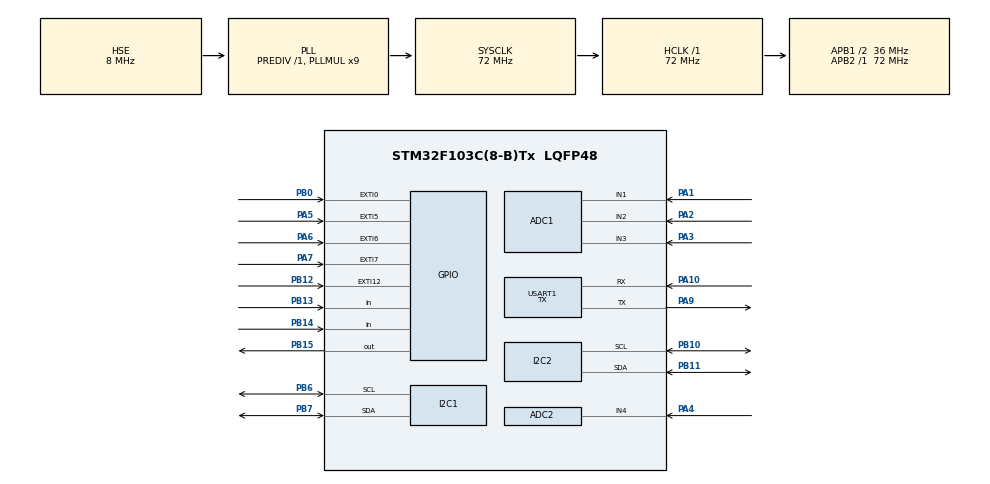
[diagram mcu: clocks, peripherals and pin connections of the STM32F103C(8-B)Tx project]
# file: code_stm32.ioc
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ADC1.Channel-27\#ChannelRegularConversion=ADC_CHANNEL_1
ADC1.Channel-28\#ChannelRegularConversion=ADC_CHANNEL_2
ADC1.Channel-31\#ChannelRegularConversion=ADC_CHANNEL_3
ADC1.ContinuousConvMode=ENABLE
ADC1.NbrOfConversion=3
ADC1.NbrOfConversionFlag=1
ADC1.Rank-27\#ChannelRegularConversion=1
ADC1.Rank-28\#ChannelRegularConversion=2
ADC1.Rank-31\#ChannelRegularConversion=3
ADC1.SamplingTime-27\#ChannelRegularConversion=ADC_SAMPLETIME_239CYCLES_5
ADC1.SamplingTime-28\#ChannelRegularConversion=ADC_SAMPLETIME_239CYCLES_5
ADC1.SamplingTime-31\#ChannelRegularConversion=ADC_SAMPLETIME_239CYCLES_5
ADC1.master=1
ADC2.Channel-10\#ChannelRegularConversion=ADC_CHANNEL_4
ADC2.NbrOfConversionFlag=1
ADC2.Rank-10\#ChannelRegularConversion=1
ADC2.SamplingTime-10\#ChannelRegularConversion=ADC_SAMPLETIME_239CYCLES_5
Mcu.Family=STM32F1
Mcu.Name=STM32F103C(8-B)Tx
Mcu.Package=LQFP48
NVIC.EXTI0_IRQn=true\:0\:0\:false\:false\:true\:true\:true\:true
NVIC.EXTI15_10_IRQn=true\:0\:0\:false\:false\:true\:true\:true\:true
NVIC.EXTI9_5_IRQn=true\:0\:0\:false\:false\:true\:true\:true\:true
NVIC.PriorityGroup=NVIC_PRIORITYGROUP_4
PA1.Signal=ADCx_IN1
PA10.Mode=Asynchronous
PA10.Signal=USART1_RX
PA13.Mode=Serial_Wire
PA13.Signal=SYS_JTMS-SWDIO
PA14.Mode=Serial_Wire
PA14.Signal=SYS_JTCK-SWCLK
PA2.Signal=ADCx_IN2
PA3.Signal=ADCx_IN3
PA4.Signal=ADCx_IN4
PA5.GPIO_ModeDefaultEXTI=GPIO_MODE_IT_FALLING
PA5.GPIO_PuPd=GPIO_PULLUP
PA5.Signal=GPXTI5
PA6.GPIO_ModeDefaultEXTI=GPIO_MODE_IT_FALLING
PA6.GPIO_PuPd=GPIO_PULLUP
PA6.Signal=GPXTI6
PA7.GPIO_ModeDefaultEXTI=GPIO_MODE_IT_FALLING
PA7.GPIO_PuPd=GPIO_PULLUP
PA7.Signal=GPXTI7
PA9.Mode=Asynchronous
PA9.Signal=USART1_TX
PB0.GPIO_ModeDefaultEXTI=GPIO_MODE_IT_FALLING
PB0.GPIO_PuPd=GPIO_PULLUP
PB0.Signal=GPXTI0
PB10.Mode=I2C
PB10.Signal=I2C2_SCL
PB11.Mode=I2C
PB11.Signal=I2C2_SDA
PB12.GPIO_ModeDefaultEXTI=GPIO_MODE_IT_FALLING
PB12.GPIO_PuPd=GPIO_PULLUP
PB12.Signal=GPXTI12
PB13.Signal=GPIO_Input
PB14.Signal=GPIO_Input
PB15.Signal=GPIO_Output
PB6.Mode=I2C
PB6.Signal=I2C1_SCL
PB7.Mode=I2C
PB7.Signal=I2C1_SDA
PD0-OSC_IN.Mode=HSE-External-Oscillator
PD0-OSC_IN.Signal=RCC_OSC_IN
PD1-OSC_OUT.Mode=HSE-External-Oscillator
PD1-OSC_OUT.Signal=RCC_OSC_OUT
ProjectManager.HeapSize=0x200
ProjectManager.StackSize=0x400
ProjectManager.TargetToolchain=MDK-ARM V5.32
RCC.ADCPresc=RCC_ADCPCLK2_DIV6
RCC.AHBFreq_Value=72000000
RCC.APB1CLKDivider=RCC_HCLK_DIV2
RCC.APB1Freq_Value=36000000
RCC.APB1TimFreq_Value=72000000
RCC.APB2Freq_Value=72000000
RCC.APB2TimFreq_Value=72000000
RCC.HCLKFreq_Value=72000000
RCC.PLLMUL=RCC_PLL_MUL9
RCC.PLLSourceVirtual=RCC_PLLSOURCE_HSE
RCC.SYSCLKFreq_VALUE=72000000
RCC.SYSCLKSource=RCC_SYSCLKSOURCE_PLLCLK
RCC.USBFreq_Value=72000000
SH.ADCx_IN1.0=ADC1_IN1,IN1
SH.ADCx_IN2.0=ADC1_IN2,IN2
SH.ADCx_IN3.0=ADC1_IN3,IN3
SH.ADCx_IN4.0=ADC2_IN4,IN4
TIM3.Prescaler=71
USART1.Mode=MODE_TX
USART1.VirtualMode=VM_ASYNC
VP_TIM3_VS_ClockSourceINT.Mode=Internal
board=custom

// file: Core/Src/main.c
/* USER CODE BEGIN Header */
/**
  ******************************************************************************
  * @file           : main.c
  * @brief          : Main program body
  ******************************************************************************
  * @attention
  *
  * Copyright (c) 2025 STMicroelectronics.
  * All rights reserved.
  *
  * This software is licensed under terms that can be found in the LICENSE file
  * in the root directory of this software component.
  * If no LICENSE file comes with this software, it is provided AS-IS.
  *
  ******************************************************************************
  */
/* USER CODE END Header */
#include "main.h"

/* USER CODE BEGIN Includes */
#include "stdio.h"
#include "DHT.c"
#include "DS18B20.h"
#include "i2c-lcd.h"
#include "delay_timer.h"
#include "string.h"
/* USER CODE END Includes */

ADC_HandleTypeDef hadc1;
ADC_HandleTypeDef hadc2;

I2C_HandleTypeDef hi2c1;
I2C_HandleTypeDef hi2c2;

TIM_HandleTypeDef htim3;

UART_HandleTypeDef huart1;

/* USER CODE BEGIN PV */
float tempDS18B20, tempDHT, humidity;
char buffer[100];
char msg[20];
DS18B20_Name DS1;
float TempWater;
uint16_t adc_value1 = 0;
float Vin1 = 0;
uint16_t adc_value2 = 0;
float Vin2 = 0;
uint16_t adc_value3 = 0;
float Vin3 = 0;
uint16_t adc_value4 = 0;
float Vin4 = 0;
float tdsValue;
float ntuValue;
float phValue;
float level;
int countdown;
volatile uint8_t current_page = 0;
volatile uint8_t update_lcd = 1;
float phSum = 0;
/* USER CODE END PV */

void SystemClock_Config(void);
static void MX_GPIO_Init(void);
static void MX_ADC1_Init(void);
static void MX_USART1_UART_Init(void);
static void MX_I2C1_Init(void);
static void MX_I2C2_Init(void);
static void MX_TIM3_Init(void);
static void MX_ADC2_Init(void);
/* USER CODE BEGIN PFP */
void send_data_UART(char *msg) {
    HAL_UART_Transmit(&huart1, (uint8_t *)msg, strlen(msg), HAL_MAX_DELAY);
}
void lcd_send_float(const char* label, float value) {
    static char buf[32];
    snprintf(buf, sizeof(buf), "%s: %.2f", label, value);
    lcd_send_string(buf);
}
float calib_ph(float voltage) {
    if (voltage >= 2.20 && voltage <= 2.52) {
        // Рo?n t? pH 4.01 d?n 6.86
        float v1 = 2.52, pH1 = 4.01;
        float v2 = 2.20, pH2 = 6.86;
        return pH1 + (voltage - v1) * (pH2 - pH1) / (v2 - v1);
    } else if (voltage >= 1.93 && voltage < 2.20) {
        // Рo?n t? pH 6.86 d?n 9.18
        float v1 = 2.20, pH1 = 6.86;
        float v2 = 1.93, pH2 = 9.18;
        return pH1 + (voltage - v1) * (pH2 - pH1) / (v2 - v1);
    } else if (voltage > 2.52) {
        return 4.01;
    } else {
        return 9.18;
    }
}

void show_page(uint8_t page) {
    char line1[17], line2[17];
    lcd_clear();

    if (page == 0) {
        snprintf(line1, sizeof(line1), "TempAir:  %.1f", tempDHT);
        snprintf(line2, sizeof(line2), "Humidity: %.1f", humidity);
    } else if (page == 1) {
        snprintf(line1, sizeof(line1), "TempWater:%.1f", TempWater);
        snprintf(line2, sizeof(line2), "TDS:      %.1f", tdsValue);
    } else if (page == 2) {
        snprintf(line1, sizeof(line1), "Level:    %.1f", level);
        snprintf(line2, sizeof(line2), "pH:       %.1f", phValue);
    } else if (page == 3) {
        snprintf(line1, sizeof(line1), "NTU:      %.1f", ntuValue);
        snprintf(line2, sizeof(line2), "Time left:%2ds", countdown);
    }

    lcd_put_cur(0, 0);
    lcd_send_string(line1);
    lcd_put_cur(1, 0);
    lcd_send_string(line2);
}
void HAL_GPIO_EXTI_Callback(uint16_t GPIO_Pin) {
	  static uint8_t relay1_state = 0;
    static uint8_t relay2_state = 0;
	  static uint8_t relay3_state = 0;
    static uint8_t relay4_state = 0;
    if (GPIO_Pin == GPIO_PIN_12) {
        static uint32_t last_tick = 0;
        if (HAL_GetTick() - last_tick > 400) {
            last_tick = HAL_GetTick();
            current_page = (current_page + 1) % 4;
            show_page(current_page);
        }
    }
		if (GPIO_Pin == GPIO_PIN_5) {
        static uint32_t last_tick = 0;
        if (HAL_GetTick() - last_tick > 200) {
            relay1_state = !relay1_state;
            snprintf(msg, sizeof(msg), "relay1: %d\n", relay1_state);
            send_data_UART(msg);
        }
    }
		if (GPIO_Pin == GPIO_PIN_6) {
        static uint32_t last_tick = 0;
        if (HAL_GetTick() - last_tick > 200) {
            relay2_state = !relay2_state;
            snprintf(msg, sizeof(msg), "relay2: %d\n", relay2_state);
            send_data_UART(msg);
        }
    }
		if (GPIO_Pin == GPIO_PIN_7) {
        static uint32_t last_tick = 0;
        if (HAL_GetTick() - last_tick > 200) {
            relay3_state = !relay3_state;
            snprintf(msg, sizeof(msg), "relay3: %d\n", relay3_state);
            send_data_UART(msg);
        }
    }
		if (GPIO_Pin == GPIO_PIN_0) {
        static uint32_t last_tick = 0;
        if (HAL_GetTick() - last_tick > 200) {
            relay4_state = !relay4_state;
            snprintf(msg, sizeof(msg), "relay4: %d\n", relay4_state);
            send_data_UART(msg);
        }
    }
}

/* USER CODE END PFP */

/* USER CODE BEGIN 0 */
DHT_sensor sensor = {
    .DHT_Port = GPIOB,
    .DHT_Pin = GPIO_PIN_14,
    .pullUp = GPIO_PULLUP,
    .type = DHT11
};
/* USER CODE END 0 */

int main(void)
 {

  /* MCU Configuration--------------------------------------------------------*/

  /* Reset of all peripherals, Initializes the Flash interface and the Systick. */
  HAL_Init();

  /* Configure the system clock */
  SystemClock_Config();

  /* Initialize all configured peripherals */
  MX_GPIO_Init();
  MX_ADC1_Init();
  MX_USART1_UART_Init();
  MX_I2C1_Init();
  MX_I2C2_Init();
  MX_TIM3_Init();
  MX_ADC2_Init();
	lcd_init();
  /* USER CODE BEGIN 2 */
	DS18B20_Init(&DS1, &htim3, GPIOB,  GPIO_PIN_15);
	DHT_data dhtData;
	//Ds18B20_t ds18b20;
	//DS18B20_init(&ds18b20, &huart3, DS18B20_12BITS);
  /* USER CODE END 2 */

  /* Infinite loop */
  while (1)
  {

    HAL_ADC_Start(&hadc1);
		for (int i = 0; i < 3; i++) {
				HAL_ADC_PollForConversion(&hadc1, 100);
				uint16_t value = HAL_ADC_GetValue(&hadc1);
				switch (i) {
						case 0:
								adc_value1 = value;
								break;
						case 1:
								adc_value2 = value;
								break;
						case 2:
								adc_value3 = value;
								break;
				}
		}
		Vin1 = (float)(adc_value1/4095.00)*3.3;
				tdsValue = (133.42 * Vin1 * Vin1 * Vin1
											- 255.86 * Vin1 * Vin1
											+ 857.39 * Vin1) * 0.5;
				sprintf(buffer, "TDS: %.2f\r\n", tdsValue);
				send_data_UART(buffer);
		HAL_Delay(100);
		Vin2 = (float)(adc_value2/4095.00)*3.3;
				ntuValue = (1.85- Vin2) * (500.0 / 2.2);
				if (ntuValue < 0.1) {
						ntuValue = 0.1;
				}
				sprintf(buffer, "NTU: %.2f\r\n", ntuValue);
				send_data_UART(buffer);
				HAL_Delay(100);

		Vin3 = (float)(adc_value3/4095.00)*3.3;
				if (Vin3 <= 0.05f) {
						level = 0;
				} else if (Vin3 > 0.05f && Vin3 <= 1.25f) {
						level = 1;
				} else if (Vin3 > 1.25f && Vin3 <= 1.45f) {
						level = 2;
				} else if (Vin3 > 1.45f && Vin3 <= 2.20f) {
						level = 3;
				} else {
						level = 4;
				}
		sprintf(buffer, "Level: %.2f\r\n", level);
		send_data_UART(buffer);
		HAL_ADC_Stop(&hadc1);

		for (int i = 0; i < 10; i++) {
				HAL_ADC_Start(&hadc2);
				HAL_ADC_PollForConversion(&hadc2, 300);
				adc_value4 = HAL_ADC_GetValue(&hadc2);
				HAL_ADC_Stop(&hadc2);

				Vin4 = (float)adc_value4 / 4095.0 * 3.3;
				phValue = calib_ph(Vin4);
				phSum += phValue;

				HAL_Delay(50);
		}
		float phAverage = phSum / 10.0;
		sprintf(buffer, "pHValue: %.2f\r\n", phValue);
		send_data_UART(buffer);

		TempWater = DS18B20_ReadTemp(&DS1);
		sprintf(buffer, "TempWater: %.2f\r\n", TempWater);
		send_data_UART(buffer);
		dhtData = DHT_getData(&sensor);
		humidity = dhtData.hum;
		sprintf(buffer, "Humidity: %.2f\r\n", humidity);
		send_data_UART(buffer);
		HAL_Delay(100);
		tempDHT = dhtData.temp;
		sprintf(buffer, "DHT Temp: %.2f\r\n", tempDHT);
		send_data_UART(buffer);
		for (int i = 15; i >= 0; i--) {
			countdown = i;
			HAL_Delay(1000);
		 show_page(current_page);
		}
  }
}

void SystemClock_Config(void)
{
  RCC_OscInitTypeDef RCC_OscInitStruct = {0};
  RCC_ClkInitTypeDef RCC_ClkInitStruct = {0};
  RCC_PeriphCLKInitTypeDef PeriphClkInit = {0};

  /** Initializes the RCC Oscillators according to the specified parameters
  * in the RCC_OscInitTypeDef structure.
  */
  RCC_OscInitStruct.OscillatorType = RCC_OSCILLATORTYPE_HSE;
  RCC_OscInitStruct.HSEState = RCC_HSE_ON;
  RCC_OscInitStruct.HSEPredivValue = RCC_HSE_PREDIV_DIV1;
  RCC_OscInitStruct.HSIState = RCC_HSI_ON;
  RCC_OscInitStruct.PLL.PLLState = RCC_PLL_ON;
  RCC_OscInitStruct.PLL.PLLSource = RCC_PLLSOURCE_HSE;
  RCC_OscInitStruct.PLL.PLLMUL = RCC_PLL_MUL9;
  if (HAL_RCC_OscConfig(&RCC_OscInitStruct) != HAL_OK)
  {
    Error_Handler();
  }

  /** Initializes the CPU, AHB and APB buses clocks
  */
  RCC_ClkInitStruct.ClockType = RCC_CLOCKTYPE_HCLK|RCC_CLOCKTYPE_SYSCLK
                              |RCC_CLOCKTYPE_PCLK1|RCC_CLOCKTYPE_PCLK2;
  RCC_ClkInitStruct.SYSCLKSource = RCC_SYSCLKSOURCE_PLLCLK;
  RCC_ClkInitStruct.AHBCLKDivider = RCC_SYSCLK_DIV1;
  RCC_ClkInitStruct.APB1CLKDivider = RCC_HCLK_DIV2;
  RCC_ClkInitStruct.APB2CLKDivider = RCC_HCLK_DIV1;

  if (HAL_RCC_ClockConfig(&RCC_ClkInitStruct, FLASH_LATENCY_2) != HAL_OK)
  {
    Error_Handler();
  }
  PeriphClkInit.PeriphClockSelection = RCC_PERIPHCLK_ADC;
  PeriphClkInit.AdcClockSelection = RCC_ADCPCLK2_DIV6;
  if (HAL_RCCEx_PeriphCLKConfig(&PeriphClkInit) != HAL_OK)
  {
    Error_Handler();
  }
}

static void MX_ADC1_Init(void)
{

  ADC_ChannelConfTypeDef sConfig = {0};

  /** Common config
  */
  hadc1.Instance = ADC1;
  hadc1.Init.ScanConvMode = ADC_SCAN_ENABLE;
  hadc1.Init.ContinuousConvMode = ENABLE;
  hadc1.Init.DiscontinuousConvMode = DISABLE;
  hadc1.Init.ExternalTrigConv = ADC_SOFTWARE_START;
  hadc1.Init.DataAlign = ADC_DATAALIGN_RIGHT;
  hadc1.Init.NbrOfConversion = 3;
  if (HAL_ADC_Init(&hadc1) != HAL_OK)
  {
    Error_Handler();
  }

  /** Configure Regular Channel
  */
  sConfig.Channel = ADC_CHANNEL_1;
  sConfig.Rank = ADC_REGULAR_RANK_1;
  sConfig.SamplingTime = ADC_SAMPLETIME_239CYCLES_5;
  if (HAL_ADC_ConfigChannel(&hadc1, &sConfig) != HAL_OK)
  {
    Error_Handler();
  }

  /** Configure Regular Channel
  */
  sConfig.Channel = ADC_CHANNEL_2;
  sConfig.Rank = ADC_REGULAR_RANK_2;
  if (HAL_ADC_ConfigChannel(&hadc1, &sConfig) != HAL_OK)
  {
    Error_Handler();
  }

  /** Configure Regular Channel
  */
  sConfig.Channel = ADC_CHANNEL_3;
  sConfig.Rank = ADC_REGULAR_RANK_3;
  if (HAL_ADC_ConfigChannel(&hadc1, &sConfig) != HAL_OK)
  {
    Error_Handler();
  }

}

static void MX_ADC2_Init(void)
{

  ADC_ChannelConfTypeDef sConfig = {0};

  /** Common config
  */
  hadc2.Instance = ADC2;
  hadc2.Init.ScanConvMode = ADC_SCAN_DISABLE;
  hadc2.Init.ContinuousConvMode = DISABLE;
  hadc2.Init.DiscontinuousConvMode = DISABLE;
  hadc2.Init.ExternalTrigConv = ADC_SOFTWARE_START;
  hadc2.Init.DataAlign = ADC_DATAALIGN_RIGHT;
  hadc2.Init.NbrOfConversion = 1;
  if (HAL_ADC_Init(&hadc2) != HAL_OK)
  {
    Error_Handler();
  }

  /** Configure Regular Channel
  */
  sConfig.Channel = ADC_CHANNEL_4;
  sConfig.Rank = ADC_REGULAR_RANK_1;
  sConfig.SamplingTime = ADC_SAMPLETIME_239CYCLES_5;
  if (HAL_ADC_ConfigChannel(&hadc2, &sConfig) != HAL_OK)
  {
    Error_Handler();
  }

}

static void MX_I2C1_Init(void)
{

  hi2c1.Instance = I2C1;
  hi2c1.Init.ClockSpeed = 100000;
  hi2c1.Init.DutyCycle = I2C_DUTYCYCLE_2;
  hi2c1.Init.OwnAddress1 = 0;
  hi2c1.Init.AddressingMode = I2C_ADDRESSINGMODE_7BIT;
  hi2c1.Init.DualAddressMode = I2C_DUALADDRESS_DISABLE;
  hi2c1.Init.OwnAddress2 = 0;
  hi2c1.Init.GeneralCallMode = I2C_GENERALCALL_DISABLE;
  hi2c1.Init.NoStretchMode = I2C_NOSTRETCH_DISABLE;
  if (HAL_I2C_Init(&hi2c1) != HAL_OK)
  {
    Error_Handler();
  }

}

static void MX_I2C2_Init(void)
{

  hi2c2.Instance = I2C2;
  hi2c2.Init.ClockSpeed = 100000;
  hi2c2.Init.DutyCycle = I2C_DUTYCYCLE_2;
  hi2c2.Init.OwnAddress1 = 0;
  hi2c2.Init.AddressingMode = I2C_ADDRESSINGMODE_7BIT;
  hi2c2.Init.DualAddressMode = I2C_DUALADDRESS_DISABLE;
  hi2c2.Init.OwnAddress2 = 0;
  hi2c2.Init.GeneralCallMode = I2C_GENERALCALL_DISABLE;
  hi2c2.Init.NoStretchMode = I2C_NOSTRETCH_DISABLE;
  if (HAL_I2C_Init(&hi2c2) != HAL_OK)
  {
    Error_Handler();
  }

}

static void MX_TIM3_Init(void)
{

  TIM_ClockConfigTypeDef sClockSourceConfig = {0};
  TIM_MasterConfigTypeDef sMasterConfig = {0};

  htim3.Instance = TIM3;
  htim3.Init.Prescaler = 71;
  htim3.Init.CounterMode = TIM_COUNTERMODE_UP;
  htim3.Init.Period = 65535;
  htim3.Init.ClockDivision = TIM_CLOCKDIVISION_DIV1;
  htim3.Init.AutoReloadPreload = TIM_AUTORELOAD_PRELOAD_DISABLE;
  if (HAL_TIM_Base_Init(&htim3) != HAL_OK)
  {
    Error_Handler();
  }
  sClockSourceConfig.ClockSource = TIM_CLOCKSOURCE_INTERNAL;
  if (HAL_TIM_ConfigClockSource(&htim3, &sClockSourceConfig) != HAL_OK)
  {
    Error_Handler();
  }
  sMasterConfig.MasterOutputTrigger = TIM_TRGO_RESET;
  sMasterConfig.MasterSlaveMode = TIM_MASTERSLAVEMODE_DISABLE;
  if (HAL_TIMEx_MasterConfigSynchronization(&htim3, &sMasterConfig) != HAL_OK)
  {
    Error_Handler();
  }

}

static void MX_USART1_UART_Init(void)
{

  huart1.Instance = USART1;
  huart1.Init.BaudRate = 115200;
  huart1.Init.WordLength = UART_WORDLENGTH_8B;
  huart1.Init.StopBits = UART_STOPBITS_1;
  huart1.Init.Parity = UART_PARITY_NONE;
  huart1.Init.Mode = UART_MODE_TX;
  huart1.Init.HwFlowCtl = UART_HWCONTROL_NONE;
  huart1.Init.OverSampling = UART_OVERSAMPLING_16;
  if (HAL_UART_Init(&huart1) != HAL_OK)
  {
    Error_Handler();
  }

}

static void MX_GPIO_Init(void)
{
  GPIO_InitTypeDef GPIO_InitStruct = {0};

  /* GPIO Ports Clock Enable */
  __HAL_RCC_GPIOD_CLK_ENABLE();
  __HAL_RCC_GPIOA_CLK_ENABLE();
  __HAL_RCC_GPIOB_CLK_ENABLE();

  /*Configure GPIO pin Output Level */
  HAL_GPIO_WritePin(GPIOB, GPIO_PIN_15, GPIO_PIN_RESET);

  /*Configure GPIO pins : PA5 PA6 PA7 */
  GPIO_InitStruct.Pin = GPIO_PIN_5|GPIO_PIN_6|GPIO_PIN_7;
  GPIO_InitStruct.Mode = GPIO_MODE_IT_FALLING;
  GPIO_InitStruct.Pull = GPIO_PULLUP;
  HAL_GPIO_Init(GPIOA, &GPIO_InitStruct);

  /*Configure GPIO pins : PB0 PB12 */
  GPIO_InitStruct.Pin = GPIO_PIN_0|GPIO_PIN_12;
  GPIO_InitStruct.Mode = GPIO_MODE_IT_FALLING;
  GPIO_InitStruct.Pull = GPIO_PULLUP;
  HAL_GPIO_Init(GPIOB, &GPIO_InitStruct);

  /*Configure GPIO pins : PB13 PB14 */
  GPIO_InitStruct.Pin = GPIO_PIN_13|GPIO_PIN_14;
  GPIO_InitStruct.Mode = GPIO_MODE_INPUT;
  GPIO_InitStruct.Pull = GPIO_NOPULL;
  HAL_GPIO_Init(GPIOB, &GPIO_InitStruct);

  /*Configure GPIO pin : PB15 */
  GPIO_InitStruct.Pin = GPIO_PIN_15;
  GPIO_InitStruct.Mode = GPIO_MODE_OUTPUT_PP;
  GPIO_InitStruct.Pull = GPIO_NOPULL;
  GPIO_InitStruct.Speed = GPIO_SPEED_FREQ_LOW;
  HAL_GPIO_Init(GPIOB, &GPIO_InitStruct);

  /* EXTI interrupt init*/
  HAL_NVIC_SetPriority(EXTI0_IRQn, 0, 0);
  HAL_NVIC_EnableIRQ(EXTI0_IRQn);

  HAL_NVIC_SetPriority(EXTI9_5_IRQn, 0, 0);
  HAL_NVIC_EnableIRQ(EXTI9_5_IRQn);

  HAL_NVIC_SetPriority(EXTI15_10_IRQn, 0, 0);
  HAL_NVIC_EnableIRQ(EXTI15_10_IRQn);

}

void Error_Handler(void)
{
  __disable_irq();
  while (1)
  {
  }
}
